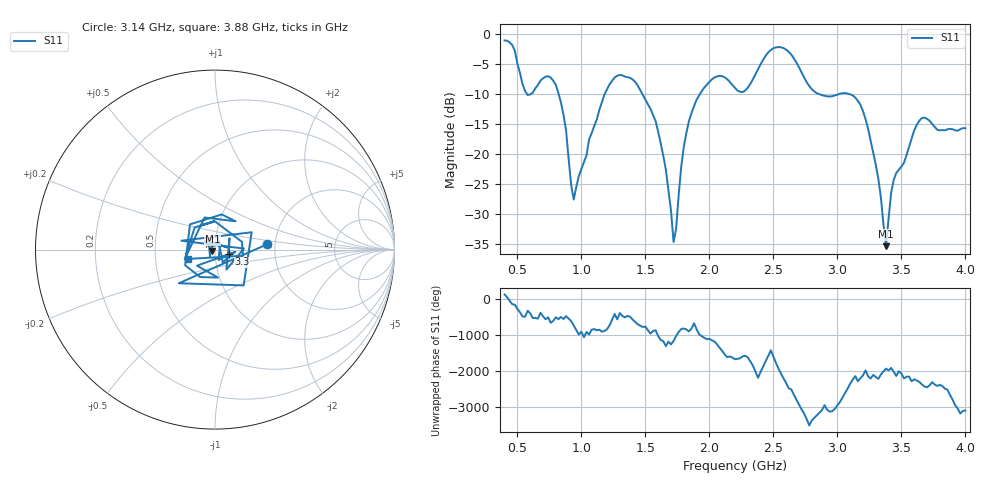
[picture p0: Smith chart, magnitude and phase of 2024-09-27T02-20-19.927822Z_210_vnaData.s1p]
!Created with skrf (http://scikit-rf.org).
# Hz S RI R 50.0
!freq ReS11 ImS11
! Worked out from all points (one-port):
!   181 points, 400 MHz to 4 GHz, reference 50 ohm
!   lowest |S11| = -35.4 dB at 3.38 GHz (marker M1), VSWR 1.03, Z = 48.6 - j0.936 ohm
!   |S11| at or under -10 dB: 821.4 MHz to 1.183 GHz (361.7 MHz wide, 36.1 % of centre); 1.475 GHz to 1.928 GHz (453.2 MHz wide, 26.6 % of centre); 3.081 GHz to end of sweep (the widest 3 of 5)
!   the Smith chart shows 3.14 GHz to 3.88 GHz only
!   S11 on the Smith chart (normalised r, x): 3.14 GHz: 1.82, +0.12; 3.3 GHz: 1.16, -0.06; 3.88 GHz: 0.73, -0.08
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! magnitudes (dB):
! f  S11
! 400 MHz  -1.1
! 480 MHz  -2.8
! 580 MHz  -10.2
! 760 MHz  -7.3
! 860 MHz  -13.5
! 940 MHz  -27.6
! 1.18 GHz  -10.1
! 1.3 GHz  -6.9
! 1.58 GHz  -14.6
! 1.66 GHz  -22.7
! 1.72 GHz  -34.7
! 1.76 GHz  -26.9
! 1.82 GHz  -16.6
! 1.9 GHz  -11.0
! 2.06 GHz  -7.1
! 2.2 GHz  -9.0
! 2.5 GHz  -2.4
! 2.66 GHz  -4.1
! 2.84 GHz  -9.9
! 3.1 GHz  -10.1
! 3.14 GHz  -10.7
! 3.3 GHz  -21.9
! 3.38 GHz  -35.4
! 3.44 GHz  -24.4
! 3.56 GHz  -18.8
! 3.66 GHz  -14.1
! 3.88 GHz  -15.9
! 4 GHz  -15.8
